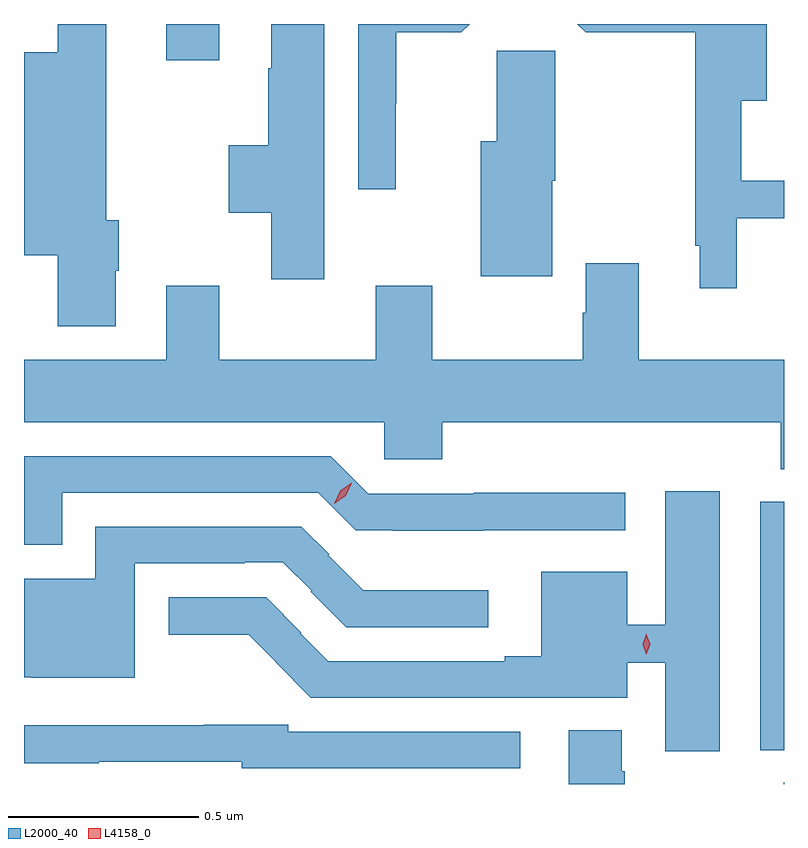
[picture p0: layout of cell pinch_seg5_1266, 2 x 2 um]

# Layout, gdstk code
import gdstk
lib = gdstk.Library(unit=1e-6, precision=1e-09)
def R(c, l, rs):  # rectangles x0, y0, x1, y1
    for r in rs: c.add(gdstk.rectangle(r[:2], r[2:], *l))
def P(c, l, *ps):  # polygons
    for p in ps: c.add(gdstk.Polygon(p, *l))
L2000_40 = (2000, 40)
L4158_0 = (4158, 0)

pinch_seg5_1266 = lib.new_cell('pinch_seg5_1266')
R(pinch_seg5_1266, L2000_40, [(450.721,874.456,450.722,874.46), (450.66,874.545,450.722,875.199), (449.096,876.36,449.236,876.456)])
P(pinch_seg5_1266, L2000_40, [(448.963,875.807),(448.971,875.807),(448.971,875.94),(448.939,875.94),(448.939,876.456),(448.811,876.456),(448.811,876.382),(448.722,876.382),(448.722,875.847),(448.811,875.847),(448.811,875.661),(448.963,875.661)],
  [(449.7,876.246),(449.702,876.246),(449.702,876.434),(449.873,876.434),(449.895,876.456),(449.601,876.456),(449.601,876.021),(449.7,876.021)],
  [(450.598,875.945),(450.722,875.945),(450.722,876.043),(450.61,876.043),(450.61,876.254),(450.676,876.254),(450.676,876.456),(450.178,876.456),(450.2,876.434),(450.489,876.434),(450.489,875.872),(450.5,875.872),(450.5,875.76),(450.598,875.76)],
  [(449.512,876.456),(449.372,876.456),(449.372,876.339),(449.365,876.339),(449.365,876.137),(449.261,876.137),(449.261,875.959),(449.372,875.959),(449.372,875.784),(449.512,875.784)],
  [(450.112,876.044),(450.12,876.044),(450.12,876.385),(449.966,876.385),(449.966,876.148),(449.924,876.148),(449.924,875.792),(450.112,875.792)],
  [(450.722,875.572),(450.34,875.572),(450.34,875.827),(450.2,875.827),(450.2,875.696),(450.193,875.696),(450.193,875.572),(449.796,875.572),(449.796,875.767),(449.648,875.767),(449.648,875.572),(449.236,875.572),(449.236,875.767),(449.096,875.767),(449.096,875.572),(448.722,875.572),(448.722,875.408),(449.67,875.408),(449.67,875.31),(449.822,875.31),(449.822,875.408),(450.713,875.408),(450.713,875.284),(450.722,875.284)],
  [(448.822,875.223),(449.496,875.223),(449.595,875.124),(449.692,875.124),(449.692,875.123),(449.931,875.123),(449.931,875.124),(450.304,875.124),(450.304,875.222),(449.905,875.222),(449.905,875.22),(449.628,875.22),(449.529,875.319),(448.722,875.319),(448.722,875.085),(448.822,875.085)],
  [(450.553,875.227),(450.41,875.227),(450.41,874.875),(450.31,874.875),(450.31,875.014),(450.083,875.014),(450.083,874.792),(449.987,874.792),(449.987,874.779),(449.523,874.779),(449.45,874.852),(449.452,874.854),(449.359,874.947),(449.103,874.947),(449.103,874.849),(449.314,874.849),(449.386,874.777),(449.384,874.776),(449.477,874.683),(450.31,874.683),(450.31,874.775),(450.41,874.775),(450.41,874.542),(450.553,874.542)],
  [(449.014,875.037),(449.303,875.037),(449.303,875.04),(449.403,875.04),(449.479,874.964),(449.477,874.962),(449.57,874.869),(449.944,874.869),(449.944,874.966),(449.615,874.966),(449.523,875.058),(449.525,875.06),(449.452,875.133),(448.91,875.133),(448.91,874.996),(448.722,874.996),(448.722,874.737),(448.741,874.737),(448.741,874.736),(449.014,874.736)],
  [(450.028,874.593),(449.418,874.593),(449.418,874.612),(449.195,874.612),(449.195,874.611),(448.722,874.611),(448.722,874.51),(448.919,874.51),(448.919,874.515),(449.295,874.515),(449.295,874.497),(450.028,874.497)],
  [(450.303,874.49),(450.295,874.49),(450.295,874.597),(450.155,874.597),(450.155,874.456),(450.303,874.456)])
P(pinch_seg5_1266, L4158_0, [(450.36,874.798),(450.36,874.798),(450.35,874.824),(450.36,874.85),(450.36,874.851),(450.36,874.85),(450.37,874.824),(450.36,874.798)],
  [(449.538,875.194),(449.538,875.194),(449.554,875.228),(449.584,875.249),(449.585,875.249),(449.585,875.249),(449.569,875.215),(449.539,875.194)])

lib.write_gds('pinch_seg5_1266.gds')
